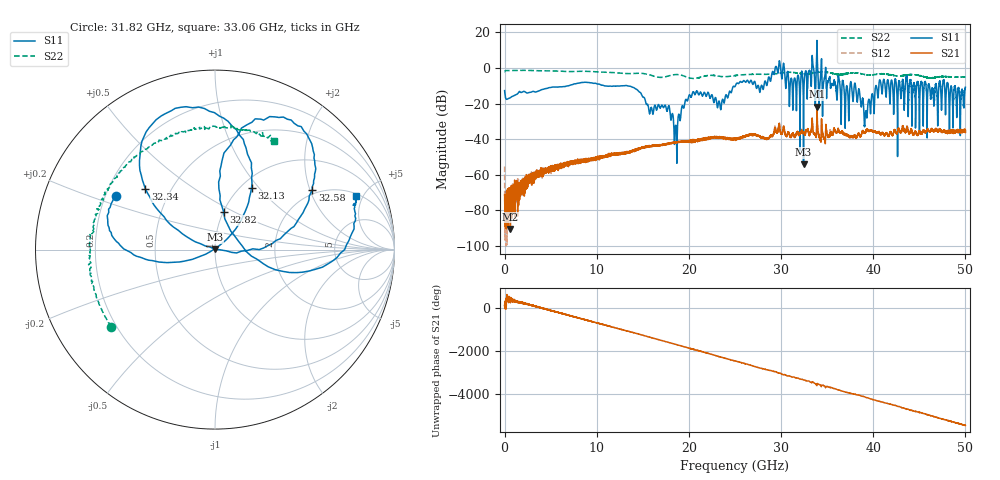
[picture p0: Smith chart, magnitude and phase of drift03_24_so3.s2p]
!Created with skrf (http://scikit-rf.org).
# Hz S RI R 50.0
!freq ReS11 ImS11 ReS21 ImS21 ReS12 ImS12 ReS22 ImS22
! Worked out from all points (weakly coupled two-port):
!   10001 points, 300 kHz to 50 GHz, reference 50 ohm
!   highest |S21| = -21.66 dB at 33.9 GHz (marker M1); lowest = -90.5 dB at 625.3 MHz (marker M2)
!   lowest |S11| = -54.2 dB at 32.44 GHz (marker M3), VSWR 1.00, Z = 50 + j0.195 ohm
!   |S11| at or under -10 dB: start of sweep to 6.947 GHz; 13.31 GHz to 25.05 GHz (11.73 GHz wide, 61.2 % of centre); 38.07 GHz to 40.27 GHz (2.198 GHz wide, 5.61 % of centre) (the widest 3 of 58)
!   |S22| runs from -5.9 to -1.3 dB; largest |S21 - S12| = 0.0074
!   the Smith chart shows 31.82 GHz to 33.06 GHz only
!   S11 on the Smith chart (normalised r, x): 31.82 GHz: 0.24, +0.24; 32.13 GHz: 1.11, +0.92; 32.34 GHz: 0.36, +0.33; 32.58 GHz: 1.86, +2.08; 32.82 GHz: 1.00, +0.44; 33.06 GHz: 2.21, +4.42
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300000  -0.2081 -0.0998  1.92e-05 0.000276  0.000334 0.00167  -0.7636 -0.1936
6.252962e8  -0.0426 0.1398  -2.11e-05 -2.1e-05  0.000299 4.91e-05  -0.2512 0.8053
2.330286e9  0.0243 -0.2012  -0.000591 -0.000125  -0.000629 -1.79e-06  0.0967 -0.85
3.935276e9  -0.0196 0.2406  0.00108 -0.000166  0.00113 -0.000243  -0.03 0.8311
5.470267e9  0.0678 -0.2816  -0.00159 0.000121  -0.00152 0.000202  0.1676 -0.8091
8.33525e9  0.2835 -0.2683  -0.00227 -0.000766  -0.00224 -0.000994  0.6007 -0.5359
9.585242e9  -0.3713 -0.0403  0.00137 0.0025  0.00143 0.00234  -0.7868 -0.0784
1.123023e10  0.3051 0.0322  -0.00194 -0.00253  -0.00237 -0.00266  0.7561 0.0405
1.66702e10  0.0541 0.0753  0.00459 -0.00511  0.00471 -0.0049  -0.3551 0.4202
2.500015e10  -0.297 -0.0476  0.00768 0.00648  0.00771 0.00651  -0.1883 -0.5807
3.050512e10  0.2559 -0.0876  -0.00257 0.0124  -0.00247 0.0124  0.7403 -0.0602
3.181511e10  -0.5491 0.3006  0.012 -0.0101  0.0113 -0.00975  -0.5772 -0.4297
3.212511e10  0.2037 0.3458  -0.000144 -0.0149  -0.000284 -0.0149  -0.6966 0.0137
3.234011e10  -0.3877 0.3379  -0.00384 -0.0139  -0.0038 -0.0149  -0.6154 0.318
3.243511e10  -0.000158 0.00195  -0.00906 -0.0118  -0.00903 -0.0118  -0.5282 0.4374
3.25751e10  0.5421 0.3328  -0.0101 -0.00879  -0.00999 -0.00908  -0.3627 0.5743
3.28201e10  0.0483 0.21  -0.0165 -0.00235  -0.0161 -0.00262  -0.0112 0.688
3.30601e10  0.7848 0.2962  -0.0127 0.00217  -0.0127 0.00236  0.3294 0.6068
3.33351e10  0.4786 -0.9933  -0.00451 0.0252  -0.0067 0.0242  0.6165 0.3624
3.38951e10  -0.7279 -5.885  0.0821 0.00909  0.0773 0.00666  0.6778 -0.3235
4.167005e10  -0.2148 0.2853  -0.0111 -0.00429  -0.0117 -0.00492  -0.6489 -0.0535
5e10  -0.1513 -0.2442  0.00129 -0.0157  0.00116 -0.0179  0.4627 -0.3224
